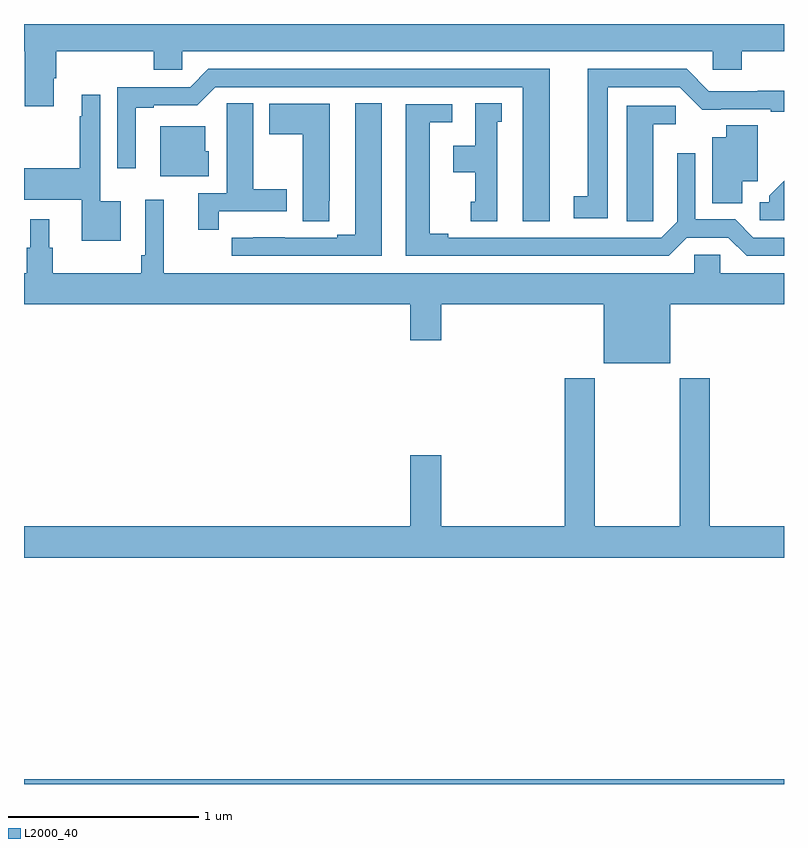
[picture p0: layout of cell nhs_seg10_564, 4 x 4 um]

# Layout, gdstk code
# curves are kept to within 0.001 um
import gdstk
lib = gdstk.Library(unit=1e-6, precision=1e-09)
def R(c, l, rs):  # rectangles x0, y0, x1, y1
    for r in rs: c.add(gdstk.rectangle(r[:2], r[2:], *l))
def P(c, l, *ps):  # polygons
    for p in ps: c.add(gdstk.Polygon(p, *l))
L2000_40 = (2000, 40)

nhs_seg10_564 = lib.new_cell('nhs_seg10_564')
R(nhs_seg10_564, L2000_40, [(139,1256.5,143,1256.524)])
P(nhs_seg10_564, L2000_40, [(139.156,1260.214),(139.169,1260.214),(139.169,1260.356),(139.682,1260.356),(139.682,1260.258),(139.833,1260.258),(139.833,1260.356),(142.626,1260.356),(142.626,1260.258),(142.778,1260.258),(142.778,1260.356),(143,1260.356),(143,1260.5),(139,1260.5),(139,1260.356),(139.004,1260.356),(139.004,1260.066),(139.156,1260.066)],
  [(141.766,1260.264),(139.971,1260.264),(139.875,1260.168),(139.491,1260.168),(139.491,1259.742),(139.588,1259.742),(139.588,1260.06),(139.684,1260.06),(139.684,1260.072),(139.911,1260.072),(140.007,1260.168),(141.626,1260.168),(141.626,1259.463),(141.766,1259.463)],
  [(142.072,1260.168),(142.452,1260.168),(142.57,1260.05),(142.931,1260.051),(142.931,1260.039),(143,1260.039),(143,1260.149),(142.861,1260.149),(142.861,1260.147),(142.605,1260.147),(142.488,1260.264),(141.968,1260.264),(141.968,1259.594),(141.894,1259.594),(141.894,1259.478),(142.072,1259.478)],
  [(139.51,1259.566),(139.401,1259.566),(139.401,1260.127),(139.304,1260.127),(139.304,1260.014),(139.293,1260.014),(139.293,1259.742),(139,1259.742),(139,1259.576),(139.304,1259.576),(139.304,1259.36),(139.51,1259.36)],
  [(140.884,1260.083),(140.744,1260.083),(140.744,1259.391),(140.648,1259.391),(140.648,1259.376),(140.372,1259.376),(140.372,1259.377),(140.206,1259.377),(140.206,1259.376),(140.094,1259.376),(140.094,1259.28),(140.884,1259.28)],
  [(141.49,1259.985),(141.514,1259.985),(141.514,1260.083),(141.374,1260.083),(141.374,1259.86),(141.26,1259.86),(141.26,1259.72),(141.374,1259.72),(141.374,1259.565),(141.35,1259.565),(141.35,1259.463),(141.49,1259.463)],
  [(140.024,1259.514),(140.383,1259.514),(140.383,1259.631),(140.206,1259.631),(140.206,1260.083),(140.067,1260.083),(140.067,1259.972),(140.066,1259.972),(140.066,1259.61),(139.916,1259.61),(139.916,1259.418),(140.024,1259.418)],
  [(140.607,1259.569),(140.608,1259.569),(140.608,1260.079),(140.291,1260.079),(140.291,1259.92),(140.468,1259.92),(140.468,1259.461),(140.607,1259.461)],
  [(142.489,1259.376),(142.707,1259.376),(142.803,1259.28),(143,1259.28),(143,1259.376),(142.839,1259.376),(142.743,1259.472),(142.533,1259.472),(142.533,1259.821),(142.437,1259.821),(142.437,1259.46),(142.353,1259.376),(141.232,1259.376),(141.232,1259.396),(141.136,1259.396),(141.136,1259.982),(141.253,1259.982),(141.253,1260.078),(141.008,1260.078),(141.008,1259.28),(142.393,1259.28)],
  [(142.311,1259.569),(142.312,1259.569),(142.312,1259.972),(142.429,1259.972),(142.429,1260.069),(142.172,1260.069),(142.172,1259.461),(142.311,1259.461)],
  [(142.78,1259.672),(142.861,1259.672),(142.861,1259.966),(142.697,1259.966),(142.697,1259.905),(142.622,1259.905),(142.622,1259.557),(142.78,1259.557)],
  [(139.972,1259.829),(139.954,1259.829),(139.954,1259.962),(139.718,1259.962),(139.718,1259.699),(139.972,1259.699)],
  [(143,1259.675),(142.922,1259.597),(142.922,1259.562),(142.872,1259.562),(142.872,1259.466),(143,1259.466)],
  [(142.402,1259.024),(143,1259.024),(143,1259.188),(142.665,1259.188),(142.665,1259.286),(142.527,1259.286),(142.527,1259.188),(139.736,1259.188),(139.736,1259.575),(139.638,1259.575),(139.638,1259.284),(139.618,1259.284),(139.618,1259.188),(139.151,1259.188),(139.151,1259.322),(139.132,1259.322),(139.132,1259.473),(139.034,1259.473),(139.034,1259.322),(139.015,1259.322),(139.015,1259.188),(139,1259.188),(139,1259.024),(141.032,1259.024),(141.032,1258.836),(141.196,1258.836),(141.196,1259.024),(142.052,1259.024),(142.052,1258.715),(142.402,1258.715)],
  [(143,1257.856),(142.61,1257.856),(142.61,1258.636),(142.45,1258.636),(142.45,1257.856),(142.005,1257.856),(142.005,1258.636),(141.845,1258.636),(141.845,1257.856),(141.196,1257.856),(141.196,1258.231),(141.032,1258.231),(141.032,1257.856),(139,1257.856),(139,1257.692),(143,1257.692)])

lib.write_gds('nhs_seg10_564.gds')
